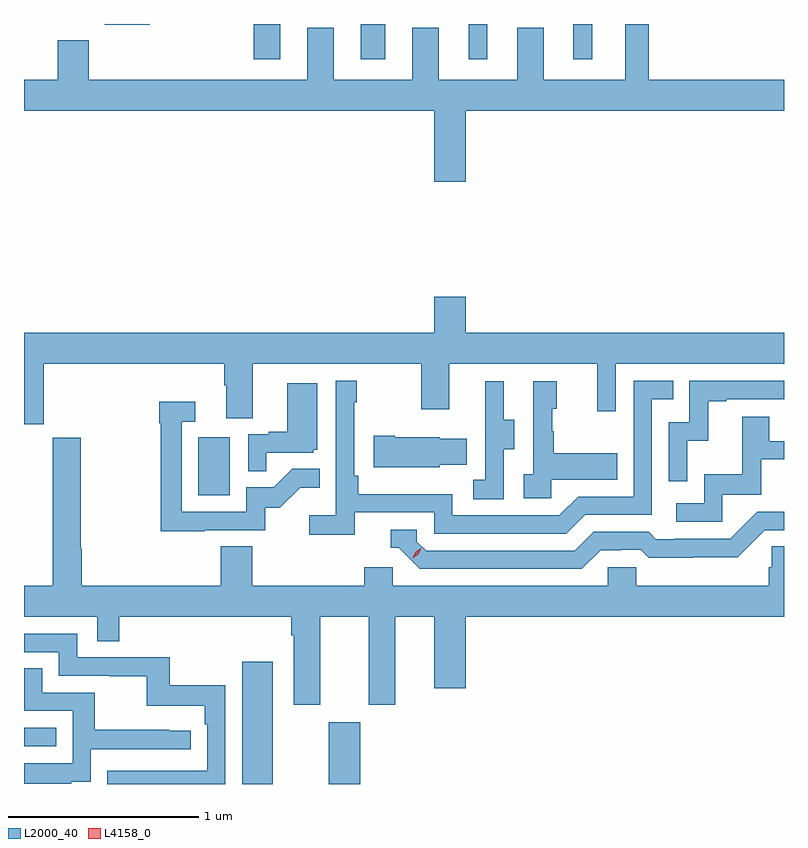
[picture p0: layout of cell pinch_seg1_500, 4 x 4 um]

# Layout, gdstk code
import gdstk
lib = gdstk.Library(unit=1e-6, precision=1e-09)
def R(c, l, rs):  # rectangles x0, y0, x1, y1
    for r in rs: c.add(gdstk.rectangle(r[:2], r[2:], *l))
def P(c, l, *ps):  # polygons
    for p in ps: c.add(gdstk.Polygon(p, *l))
L2000_40 = (2000, 40)
L4158_0 = (4158, 0)

pinch_seg1_500 = lib.new_cell('pinch_seg1_500')
R(pinch_seg1_500, L2000_40, [(1135.025,529.541,1135.186,530.185), (1135.481,529.541,1135.645,529.867), (1133.876,529.74,1134.047,529.836), (1134.794,531.06,1134.958,531.367), (1135.085,533.355,1135.225,533.541), (1135.649,533.355,1135.777,533.541), (1136.216,533.355,1136.314,533.541), (1136.768,533.355,1136.866,533.541), (1134.301,533.536,1134.539,533.541)])
P(pinch_seg1_500, L2000_40, [(1136.2,533.084),(1137.876,533.084),(1137.876,533.248),(1137.163,533.248),(1137.163,533.541),(1137.041,533.541),(1137.041,533.248),(1136.611,533.248),(1136.611,533.521),(1136.471,533.521),(1136.471,533.248),(1136.059,533.248),(1136.059,533.521),(1135.919,533.521),(1135.919,533.248),(1135.507,533.248),(1135.507,533.521),(1135.367,533.521),(1135.367,533.248),(1134.218,533.248),(1134.218,533.456),(1134.053,533.456),(1134.053,533.248),(1133.876,533.248),(1133.876,533.084),(1136.036,533.084),(1136.036,532.71),(1136.2,532.71)],
  [(1133.98,531.752),(1134.929,531.752),(1134.929,531.64),(1134.941,531.64),(1134.941,531.466),(1135.081,531.466),(1135.081,531.752),(1135.966,531.752),(1135.966,531.513),(1136.113,531.513),(1136.113,531.752),(1136.894,531.752),(1136.894,531.504),(1136.991,531.504),(1136.991,531.752),(1137.876,531.752),(1137.876,531.916),(1136.2,531.916),(1136.2,532.105),(1136.036,532.105),(1136.036,531.916),(1133.876,531.916),(1133.876,531.435),(1133.98,531.435)],
  [(1135.616,530.97),(1136.034,530.97),(1136.034,530.859),(1136.731,530.859),(1136.83,530.958),(1137.18,530.958),(1137.18,531.567),(1137.293,531.567),(1137.293,531.663),(1137.084,531.663),(1137.084,531.054),(1136.793,531.054),(1136.694,530.955),(1136.13,530.955),(1136.13,531.067),(1135.634,531.067),(1135.634,531.163),(1135.614,531.163),(1135.614,531.551),(1135.627,531.551),(1135.627,531.664),(1135.518,531.664),(1135.518,530.956),(1135.377,530.956),(1135.377,530.854),(1135.616,530.854)],
  [(1137.366,531.347),(1137.476,531.347),(1137.476,531.555),(1137.571,531.555),(1137.571,531.567),(1137.876,531.567),(1137.876,531.663),(1137.378,531.663),(1137.378,531.444),(1137.27,531.444),(1137.27,531.135),(1137.366,531.135)],
  [(1136.652,531.143),(1136.999,531.143),(1136.999,531.283),(1136.665,531.283),(1136.665,531.398),(1136.655,531.398),(1136.655,531.516),(1136.68,531.516),(1136.68,531.661),(1136.556,531.661),(1136.556,531.17),(1136.505,531.17),(1136.505,531.045),(1136.652,531.045)],
  [(1136.4,531.304),(1136.455,531.304),(1136.455,531.459),(1136.401,531.459),(1136.401,531.661),(1136.303,531.661),(1136.303,531.447),(1136.304,531.447),(1136.304,531.143),(1136.241,531.143),(1136.241,531.04),(1136.4,531.04)],
  [(1135.151,531.285),(1135.398,531.285),(1135.398,531.3),(1135.42,531.3),(1135.42,531.649),(1135.262,531.649),(1135.262,531.394),(1135.163,531.394),(1135.163,531.381),(1135.056,531.381),(1135.056,531.187),(1135.151,531.187)],
  [(1134.827,530.877),(1135.146,530.877),(1135.146,530.994),(1135.222,530.994),(1135.329,531.101),(1135.433,531.101),(1135.433,531.2),(1135.289,531.2),(1135.191,531.102),(1135.047,531.102),(1135.047,530.973),(1134.705,530.973),(1134.705,531.447),(1134.778,531.447),(1134.778,531.553),(1134.589,531.553),(1134.589,531.44),(1134.597,531.44),(1134.597,530.872),(1134.827,530.872)],
  [(1137.552,531.063),(1137.757,531.063),(1137.757,531.249),(1137.876,531.249),(1137.876,531.345),(1137.799,531.345),(1137.799,531.475),(1137.655,531.475),(1137.655,531.172),(1137.456,531.172),(1137.456,531.018),(1137.309,531.018),(1137.309,530.922),(1137.552,530.922)],
  [(1136.064,531.221),(1136.207,531.221),(1136.207,531.358),(1136.064,531.358),(1136.064,531.367),(1135.828,531.367),(1135.828,531.375),(1135.716,531.375),(1135.716,531.209),(1136.064,531.209)],
  [(1135.435,530.42),(1135.691,530.42),(1135.691,529.959),(1135.831,529.959),(1135.831,530.42),(1136.036,530.42),(1136.036,530.046),(1136.2,530.046),(1136.2,530.42),(1137.876,530.42),(1137.876,530.792),(1137.811,530.792),(1137.811,530.682),(1137.797,530.682),(1137.797,530.584),(1137.099,530.584),(1137.099,530.682),(1136.949,530.682),(1136.949,530.584),(1135.818,530.584),(1135.818,530.682),(1135.667,530.682),(1135.667,530.584),(1135.076,530.584),(1135.076,530.792),(1134.911,530.792),(1134.911,530.584),(1134.179,530.584),(1134.179,530.78),(1134.174,530.78),(1134.174,531.363),(1134.026,531.363),(1134.026,530.584),(1133.876,530.584),(1133.876,530.42),(1134.261,530.42),(1134.261,530.293),(1134.377,530.293),(1134.377,530.42),(1135.283,530.42),(1135.283,530.324),(1135.295,530.324),(1135.295,529.959),(1135.435,529.959)],
  [(1136.911,530.772),(1137.018,530.772),(1137.018,530.775),(1137.121,530.775),(1137.163,530.733),(1137.396,530.733),(1137.396,530.735),(1137.632,530.735),(1137.774,530.877),(1137.876,530.877),(1137.876,530.973),(1137.735,530.973),(1137.594,530.832),(1137.301,530.832),(1137.301,530.829),(1137.202,530.829),(1137.163,530.868),(1136.874,530.868),(1136.775,530.769),(1135.992,530.769),(1135.944,530.817),(1135.944,530.88),(1135.805,530.88),(1135.805,530.784),(1135.848,530.784),(1135.959,530.673),(1136.812,530.673)],
  [(1134.936,530.062),(1134.643,530.062),(1134.643,530.208),(1134.156,530.208),(1134.156,530.331),(1133.876,530.331),(1133.876,530.235),(1134.06,530.235),(1134.06,530.112),(1134.325,530.112),(1134.325,530.107),(1134.522,530.107),(1134.522,529.952),(1134.827,529.952),(1134.827,529.856),(1134.84,529.856),(1134.84,529.611),(1134.527,529.611),(1134.527,529.612),(1134.313,529.612),(1134.313,529.541),(1134.936,529.541)],
  [(1134.125,529.553),(1134.228,529.553),(1134.228,529.725),(1134.754,529.725),(1134.754,529.821),(1134.641,529.821),(1134.641,529.826),(1134.248,529.826),(1134.248,530.022),(1133.971,530.022),(1133.971,530.15),(1133.876,530.15),(1133.876,529.926),(1134.132,529.926),(1134.132,529.65),(1133.876,529.65),(1133.876,529.542),(1134.125,529.542)])
P(pinch_seg1_500, L4158_0, [(1135.922,530.73),(1135.922,530.731),(1135.937,530.763),(1135.968,530.783),(1135.968,530.783),(1135.968,530.782),(1135.952,530.75),(1135.922,530.73)])

lib.write_gds('pinch_seg1_500.gds')
